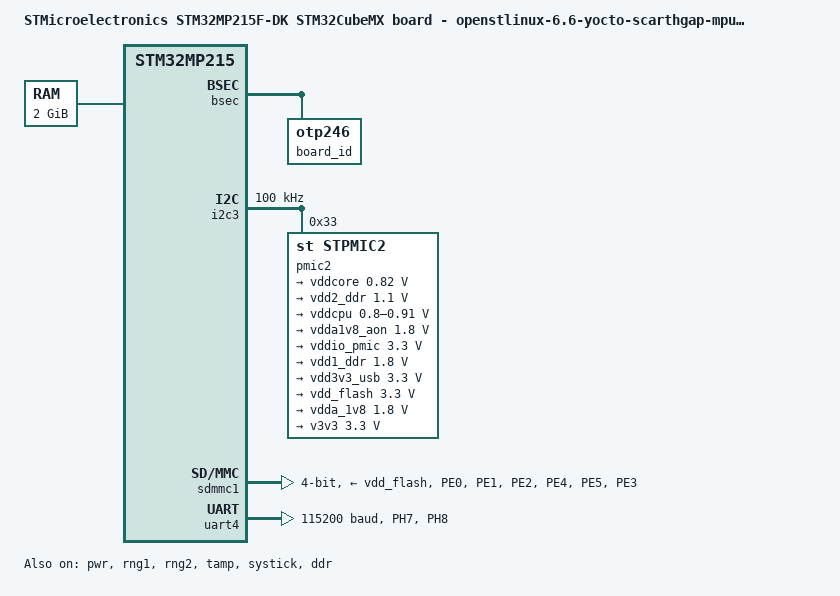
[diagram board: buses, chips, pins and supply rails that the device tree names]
/dts-v1/;
#include <dt-bindings/clock/stm32mp21-clksrc.h>
#include "stm32mp21-mx.dtsi"
#include "stm32mp215.dtsi"
#include "stm32mp21x-bl2.dtsi"
#include "stm32mp215f-board_215f-dk_m33td-mx-rcc.dtsi"
#include "stm32mp215f-board_215f-dk_m33td-mx-resmem.dtsi"
#include "stm32mp215f-board_215f-dk_m33td-mx-rif.dtsi"
#include "stm32mp21-ddr.dtsi"

/* USER CODE BEGIN includes */
#include <dt-bindings/reset/st,stm32mp21-rcc.h>
/* USER CODE END includes */

/{
	model = "STMicroelectronics STM32MP215F-DK STM32CubeMX board - openstlinux-6.6-yocto-scarthgap-mpu-v25.01.03";
	compatible = "st,stm32mp215f-board_215f-dk_m33td-mx", "st,stm32mp215f-dk", "st,stm32mp215";

	/* USER CODE BEGIN root */
	otp {
		nvmem-cells = <&implementation_id>,
			      <&rpn_otp>,
			      <&bootrom_config_9>,
			      <&id_otp>,
			      <&package_otp>,
			      <&hconf1_otp>,
			      <&bl2_rotpk_0>,
			      <&bl2_rotpk_0>, /*keep the same key for slot1 */
			      <&board_id>,
			      <&entropy_seed>,
			      <&iak>;
		nvmem-cell-names = "implementation_id",
				   "rpn_otp",
				   "bootrom_config_9",
				   "id_otp",
				   "package_otp",
				   "hconf1_otp",
				   "bl2_rotpk_0",
				   "bl2_rotpk_1",
				   "board_id",
				   "entropy_seed",
				   "iak";
	};

	aliases{
		serial0 = &uart4;
	};

	chosen{
		stdout-device = &uart4;
		tfm,entropy = &rng1;
	};
	/* USER CODE END root */

	memory@80000000{
		device_type = "memory";
		reg = <0x80000000 0x80000000>;
	};
};

&pinctrl {

	pwr_pins_mx:pwr_mx-0{

		pins{
			pinmux = <STM32_PINMUX('A', 0, ANALOG)>;
		};
	};

	sdmmc1_pins_mx:sdmmc1_mx-0{

		pins1{
			pinmux = <STM32_PINMUX('E', 0, AF10)>,
					<STM32_PINMUX('E', 1, AF10)>,
					<STM32_PINMUX('E', 2, AF10)>,
					<STM32_PINMUX('E', 4, AF10)>,
					<STM32_PINMUX('E', 5, AF10)>;
			bias-disable;
			drive-push-pull;
			slew-rate = <2>;
		};

		pins2{
			pinmux = <STM32_PINMUX('E', 3, AF10)>;
			bias-disable;
			drive-push-pull;
			slew-rate = <3>;
		};
	};

	uart4_pins_mx:uart4_mx-0{

		pins1{
			pinmux = <STM32_PINMUX('H', 7, AF4)>;
			bias-disable;
			drive-push-pull;
			slew-rate = <0>;
		};

		pins2{
			pinmux = <STM32_PINMUX('H', 8, AF4)>;
			bias-disable;
			drive-push-pull;
		};
	};
};

&pinctrl_z {

	i2c3_pins_z_mx:i2c3_mx-0{

		pins{
			pinmux = <STM32_PINMUX('Z', 0, AF8)>,
					<STM32_PINMUX('Z', 1, AF8)>;
			bias-disable;
			drive-open-drain;
			slew-rate = <0>;
		};
	};
};

&bsec {
	status = "okay";

	/* USER CODE BEGIN bsec */
	memory-region = <&bsec_mirror>;
	board_id: otp246@3d8 {
		#nvmem-cell-cells = <0>;
		reg = <0x3d8 0x4>;
	};
	/* USER CODE END bsec */
};

&i2c3 {
	pinctrl-names = "default", "sleep";
	pinctrl-0 = <&i2c3_pins_z_mx>;
	pinctrl-1 = <&i2c3_sleep_pins_z_mx>;
	status = "okay";

	/* USER CODE BEGIN i2c3 */
	i2c-scl-rising-time-ns = <185>;
	i2c-scl-falling-time-ns = <20>;
	clock-frequency = <100000>;
	#address-cells = <1>;
	#size-cells = <0>;

	pmic2:pmic@33{
		compatible = "st,stpmic2";
		reg = <0x33>;
		status = "okay";

		regulators{
			compatible = "st,stpmic2-regulators";

			vddcore:buck1{
				regulator-name = "vddcore";
				regulator-min-microvolt = <820000>;
				regulator-max-microvolt = <820000>;
				regulator-always-on;
			};

			vdd2_ddr:buck2{
				regulator-name = "vdd2_ddr";
				regulator-min-microvolt = <1100000>;
				regulator-max-microvolt = <1100000>;
			};

			vddcpu:buck3{
				regulator-name = "vddcpu";
				regulator-min-microvolt = <800000>;
				regulator-max-microvolt = <910000>;
				regulator-always-on;
			};

			vdda1v8_aon:ldo1{
				regulator-name = "vdda1v8_aon";
				regulator-min-microvolt = <1800000>;
				regulator-max-microvolt = <1800000>;
				regulator-always-on;
				st,mask-reset;
			};

			vddio_pmic:ldo2{
				regulator-name = "vddio_pmic";
				regulator-min-microvolt = <3300000>;
				regulator-max-microvolt = <3300000>;
				regulator-always-on;
				st,mask-reset;
			};

			vdd1_ddr:ldo3{
				regulator-name = "vdd1_ddr";
				regulator-min-microvolt = <1800000>;
				regulator-max-microvolt = <1800000>;
				regulator-enable-ramp-delay = <1000>;
			};

			vdd3v3_usb:ldo4{
				regulator-name = "vdd3v3_usb";
				regulator-min-microvolt = <3300000>;
				regulator-max-microvolt = <3300000>;
			};

			vdd_flash:ldo5{
				regulator-name = "vdd_flash";
				regulator-min-microvolt = <3300000>;
				regulator-max-microvolt = <3300000>;
			};

			vdda_1v8:ldo6{
				regulator-name = "vdda_1v8";
				regulator-min-microvolt = <1800000>;
				regulator-max-microvolt = <1800000>;
				regulator-always-on;
			};

			v3v3:gpo1{
				regulator-name = "v3v3";
				regulator-min-microvolt = <3300000>;
				regulator-max-microvolt = <3300000>;
				regulator-always-on;
			};
		};
	};
	/* USER CODE END i2c3 */
};

&pwr {
	pinctrl-names = "default", "sleep";
	pinctrl-0 = <&pwr_pins_mx>;
	pinctrl-1 = <&pwr_sleep_pins_mx>;
	status = "okay";

	/* USER CODE BEGIN pwr */

	vdda18adc{
		status = "okay";
		regulator-min-microvolt = <1800000>;
		regulator-max-microvolt = <1800000>;
		vin-supply = <&vdda_1v8>;
	};

	vddio1{
		status = "okay";
		vin-supply = <&vddio_pmic>;
	};

	vddio2{
		status = "okay";
		vin-supply = <&vdda_1v8>;
	};

	vddio3{
		status = "okay";
		vin-supply = <&vddio_pmic>;
	};

	vddio{
		status = "okay";
		vin-supply = <&vddio_pmic>;
	};
	/* USER CODE END pwr */
};

&rcc {
	status = "okay";
};

&rng1 {
	status = "okay";
};

&rng2 {
	status = "okay";
};

&sdmmc1 {
	pinctrl-names = "default", "opendrain", "sleep";
	pinctrl-0 = <&sdmmc1_pins_mx>;
	pinctrl-1 = <&sdmmc1_opendrain_pins_mx>;
	pinctrl-2 = <&sdmmc1_sleep_pins_mx>;
	status = "okay";

	/* USER CODE BEGIN sdmmc1 */
	st,neg-edge;
	no-mmc;
	bus-width = <4>;
	vmmc-supply = <&vdd_flash>;
	vqmmc-supply = <&vddio1>;
	/* USER CODE END sdmmc1 */
};

&tamp {
	status = "okay";
};

&uart4 {
	pinctrl-names = "default", "idle", "sleep";
	pinctrl-0 = <&uart4_pins_mx>;
	pinctrl-1 = <&uart4_idle_pins_mx>;
	pinctrl-2 = <&uart4_sleep_pins_mx>;
	status = "okay";

	/* USER CODE BEGIN uart4 */
	clocks = <&rcc CK_KER_UART4>;
	current-speed = <115200>;
	/* USER CODE END uart4 */
};

/* USER CODE BEGIN addons */

&systick {
	clocks = <&rcc CK_ICN_HS_MCU>;
	clock-frequency = <1000000>;
	status = "okay";
};

&ddr {
	vdd1-supply = <&vdd1_ddr>;
	vdd2-supply = <&vdd2_ddr>;
	vddq-supply = <&vdd2_ddr>;
	status = "okay";
};

&hconf1_otp {
	shadow-provisionning = <0x00018000>;
};
/* USER CODE END addons */
